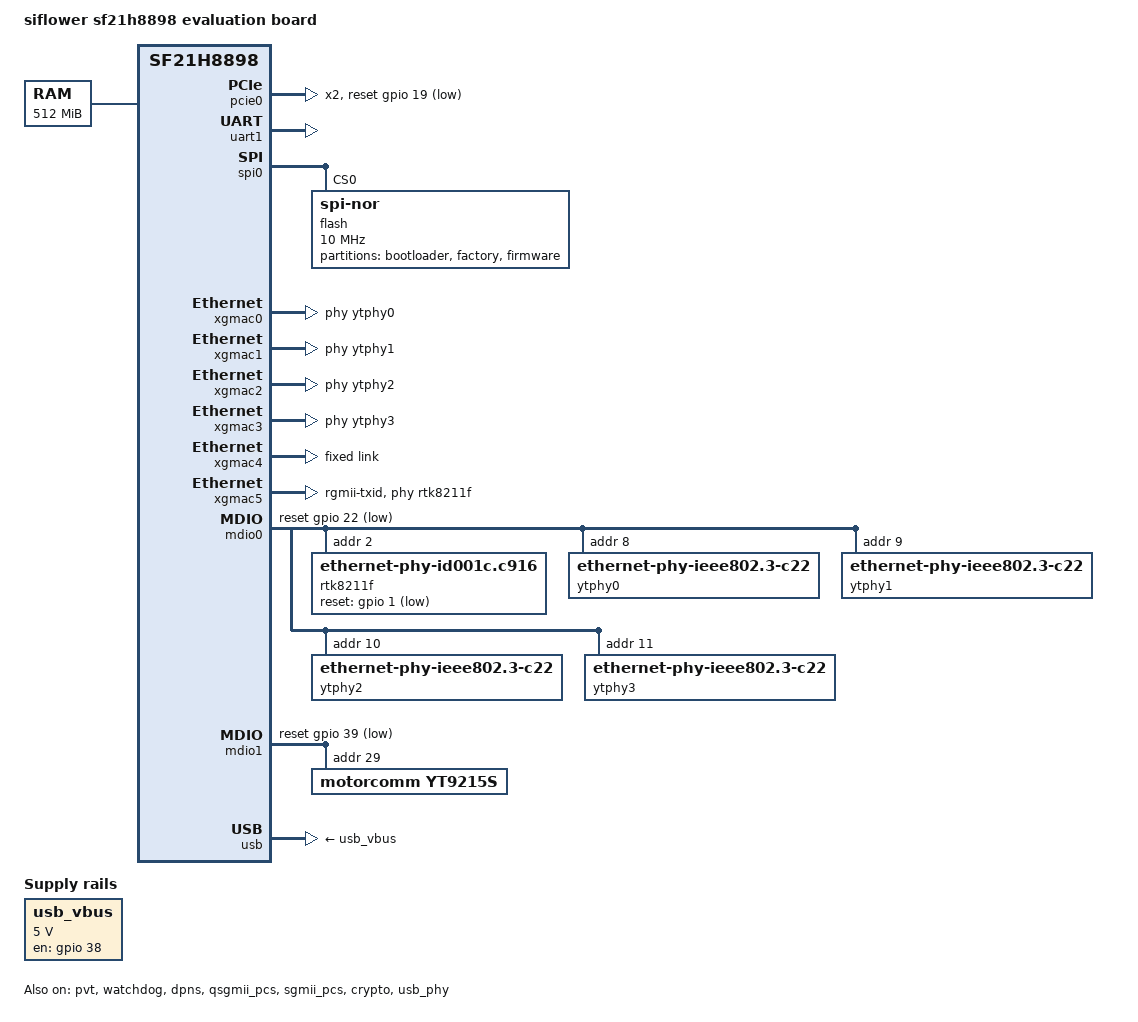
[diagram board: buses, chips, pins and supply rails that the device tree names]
/*
 * Copyright 2022 SiFlower Corporation.
 */

/dts-v1/;
#include "sf21h8898-fullmask.dtsi"

/ {
	model = "siflower sf21h8898 evaluation board";
	compatible = "siflower,sf21h8898-evb", "siflower,sf21h8898";

	chosen {
		bootargs = "earlycon";
		stdout-path = "serial1:115200n8";
	};

	memory@20000000 {
		device_type = "memory";
		reg = <0x0 0x20000000 0x0 0x20000000>;
	};

	usb_vbus: regulator@0 {
		compatible = "regulator-fixed";
		regulator-name = "usb_vbus";
		regulator-min-microvolt = <5000000>;
		regulator-max-microvolt = <5000000>;
		gpio = <&gpio 38 GPIO_ACTIVE_HIGH>;
		enable-active-high;
	};
};

&pvt {
	status = "okay";
};

&pcie0 {
	reset-gpios = <&gpio 19 GPIO_ACTIVE_LOW>;
	reset-ms = <100>;
	num-lanes = <2>;
	lane-mode = <1>;
	status = "okay";

	pcie@0,0 {
		reg = <0x0000 0 0 0 0>;
		#address-cells = <3>;
		#size-cells = <2>;

		wifi@0,0 {
			reg = <0x0 0 0 0 0>;
		};

		wifi@0,1 {
			reg = <0x100 0 0 0 0>;
		};
	};
};

&pcie1 {
	reset-ms = <100>;
	num-lanes = <1>;
	lane-mode = <0>;
	status = "disabled";
};

&watchdog {
	status = "okay";
};

&uart1 {
	status = "okay";
};

&spi0 {
	status = "okay";
	flash@0 {
		compatible = "jedec,spi-nor";
		reg = <0>;
		spi-max-frequency = <10000000>;
		spi-tx-bus-width = <4>;
		spi-rx-bus-width = <4>;
		#address-cells = <1>;
		#size-cells = <1>;
	        partitions {
	            compatible = "fixed-partitions";
		        #address-cells = <1>;
			    #size-cells = <1>;

				partition0@0 {
					label = "bootloader";
					reg = <0x0 0x90000>;
					read-only;
				};
				factory:partition1@90000 {
					label = "factory";
					reg = <0x90000 0x10000>;
				};
				partition2@a0000 {
					label = "firmware";
					reg = <0xa0000 (-1)>;
					compatible = "denx,fit";
				};
			};
	};
};

&i2c0 {
	status = "disabled";
};

&xgmac0 {
	status = "okay";
	//managed = "in-band-status";
	phy-handle = <&ytphy0>;
	nvmem-cells = <&mtd_mac_address>;
	nvmem-cell-names = "mac-address";
};

&xgmac1 {
	status = "okay";
	//managed = "in-band-status";
	phy-handle = <&ytphy1>;
	nvmem-cells = <&mtd_mac_address>;
	nvmem-cell-names = "mac-address";
};

&xgmac2 {
	status = "okay";
	//managed = "in-band-status";
	phy-handle = <&ytphy2>;
	nvmem-cells = <&mtd_mac_address>;
	nvmem-cell-names = "mac-address";
};

&xgmac3 {
	status = "okay";
	//managed = "in-band-status";
	phy-handle = <&ytphy3>;
	nvmem-cells = <&mtd_mac_address>;
	nvmem-cell-names = "mac-address";
	mac-address-increment = <1>;
};

&xgmac4 {
	status = "okay";
//	managed = "in-band-status";
	nvmem-cells = <&mtd_mac_address>;
	nvmem-cell-names = "mac-address";

	fixed-link {
		speed = <2500>;
		full-duplex;
		pause;
		asym-pause;
	};
};

&xgmac5 {
	status = "okay";
	phy-mode = "rgmii-txid";
	tx-internal-delay-ps = <2597>;
	rx-internal-delay-ps = <1421>;
	phy-handle = <&rtk8211f>;
	nvmem-cells = <&mtd_mac_address>;
	nvmem-cell-names = "mac-address";
};

&mdio0 {
	clock-frequency = <10500000>;
	reset-gpios = <&gpio 22 GPIO_ACTIVE_LOW>;
	reset-delay-us = <10000>;
	reset-post-delay-us = <100000>;

	rtk8211f: ethernet-phy@2 {
		compatible = "ethernet-phy-id001c.c916";
		reg = <0x2>;
		reset-gpios = <&gpio 1 GPIO_ACTIVE_LOW>;
		reset-assert-us = <10000>;
		reset-deassert-us = <100000>;
	};

	ytphy0: ethernet-phy@8 {
		compatible = "ethernet-phy-ieee802.3-c22";
		reg = <0x8>;
	};

	ytphy1: ethernet-phy@9 {
		compatible = "ethernet-phy-ieee802.3-c22";
		reg = <0x9>;
	};

	ytphy2: ethernet-phy@a {
		compatible = "ethernet-phy-ieee802.3-c22";
		reg = <0xa>;
	};

	ytphy3: ethernet-phy@b {
		compatible = "ethernet-phy-ieee802.3-c22";
		reg = <0xb>;
	};
};

&mdio1 {
	reset-gpios = <&gpio 39 GPIO_ACTIVE_LOW>;
	reset-delay-us = <10000>;
	reset-post-delay-us = <100000>;

	yt9215s: switch@1d {
		compatible = "motorcomm,yt9215s";
		reg = <0x1d>;
	};
};

&dpns {
	status = "okay";
};

&edma {
	status = "okay";
};

&qsgmii_pcs {
	status = "okay";
};

&sgmii_pcs {
	status = "okay";
};

&crypto {
	status = "okay";
};

&usb_phy {
	status = "okay";
};

&usb {
	status = "okay";
	vbus-supply = <&usb_vbus>;
};

#include "sf21h8898-factory.dtsi"
